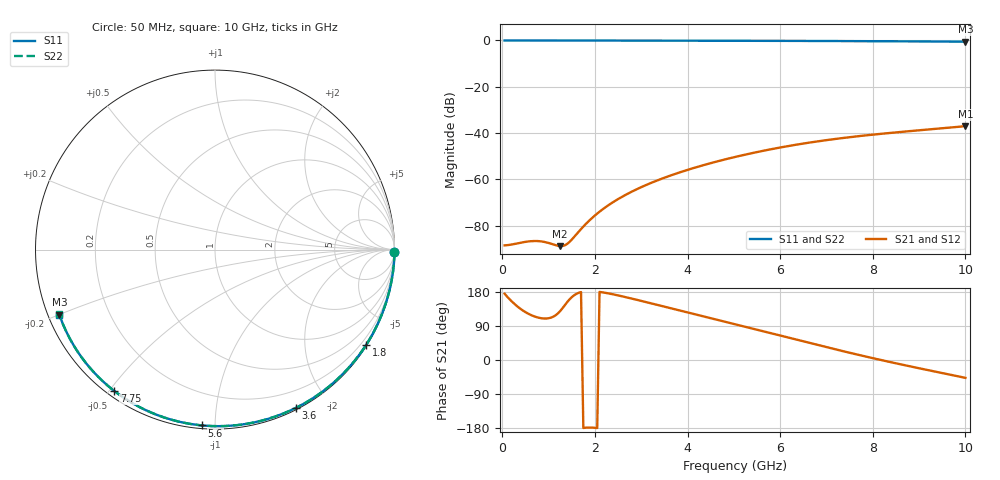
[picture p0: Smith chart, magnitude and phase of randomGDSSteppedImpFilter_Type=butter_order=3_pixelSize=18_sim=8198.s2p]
! freq	dB(S11)	phase(S11)	dB(S12)	phase(S12)
!  dB(S21)	phase(S21)	dB(S22)	phase(S22)
!S-par simulation data
#  GHz  S  DB  R 50
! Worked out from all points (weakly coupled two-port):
!   200 points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, 50 MHz to 10 GHz, reference 50 ohm
!   highest |S21| = -37.01 dB at 10 GHz (marker M1); lowest = -88.8 dB at 1.25 GHz (marker M2)
!   lowest |S11| = -0.5 dB at 10 GHz (marker M3), VSWR 32.26, Z = 1.61 - j10 ohm
!   |S11| at or under -10 dB: nowhere
!   |S22| runs from -0.5 to 0.0 dB; largest |S21 - S12| = 0
!   S11 on the Smith chart (normalised r, x): 50 MHz: open; 1.8 GHz: 0.03, -3.46; 3.6 GHz: 0.02, -1.64; 5.6 GHz: 0.02, -0.93; 7.75 GHz: 0.02, -0.52; 10 GHz: 0.03, -0.20
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0.05  -0.00 -0.9  -88.48 175.0  -88.48 175.0  -0.00 -0.9
0.65  -0.01 -11.8  -86.62 117.1  -86.62 117.1  -0.01 -11.8
1.25  -0.03 -22.6  -88.82 129.2  -88.82 129.2  -0.03 -22.6
1.75  -0.04 -31.4  -80.35 -179.4  -80.35 -179.4  -0.04 -31.4
1.8  -0.04 -32.3  -79.31 -178.6  -79.31 -178.6  -0.04 -32.3
1.95  -0.04 -34.9  -76.44 -178.4  -76.44 -178.4  -0.04 -34.9
2.1  -0.05 -37.5  -73.92 179.7  -73.92 179.7  -0.05 -37.5
2.25  -0.05 -40.1  -71.70 176.7  -71.70 176.7  -0.05 -40.1
2.45  -0.06 -43.6  -69.09 171.8  -69.09 171.8  -0.06 -43.6
2.65  -0.06 -47.0  -66.80 166.3  -66.80 166.3  -0.06 -47.0
2.9  -0.07 -51.2  -64.27 159.0  -64.27 159.0  -0.07 -51.3
3.4  -0.08 -59.6  -60.02 143.9  -60.02 143.9  -0.08 -59.6
3.6  -0.08 -62.8  -58.54 137.8  -58.54 137.8  -0.08 -62.9
4.3  -0.11 -74.1  -54.08 116.4  -54.08 116.4  -0.11 -74.2
5.05  -0.13 -85.8  -50.19 93.5  -50.19 93.5  -0.13 -85.9
5.6  -0.16 -94.2  -47.77 76.7  -47.77 76.7  -0.16 -94.3
6.15  -0.18 -102.4  -45.68 59.7  -45.68 59.7  -0.18 -102.5
6.7  -0.22 -110.4  -43.89 42.9  -43.89 42.9  -0.22 -110.5
7.75  -0.29 -125.4  -41.20 11.9  -41.20 11.9  -0.29 -125.5
8.35  -0.35 -133.9  -39.98 -4.7  -39.98 -4.7  -0.35 -134.0
9.2  -0.44 -145.9  -38.43 -26.9  -38.43 -26.9  -0.44 -146.0
10  -0.54 -157.3  -37.01 -47.1  -37.01 -47.1  -0.54 -157.5
